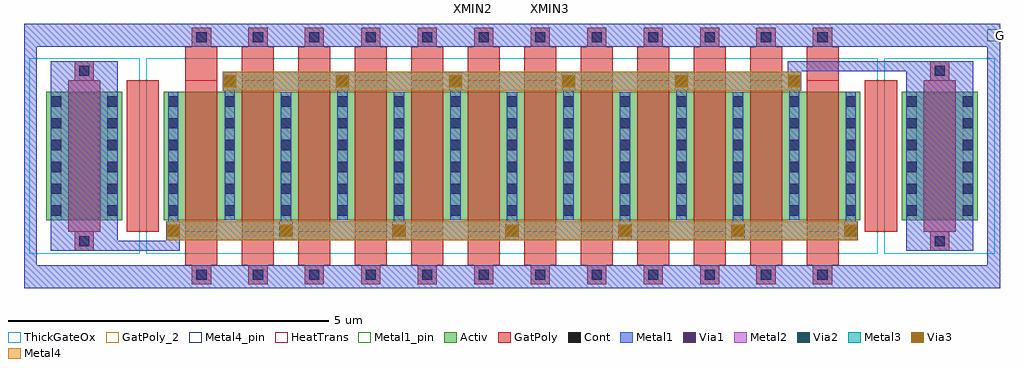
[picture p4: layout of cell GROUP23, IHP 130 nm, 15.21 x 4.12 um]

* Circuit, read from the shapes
.subckt GROUP23 G
XM1 nmosHV$1_priv1_0/D nmosHV$1_priv1_0/D nmosHV$1_priv1_0/D VSUBS sg13_hv_nmos w=2u l=0.5u
XM2 nmosHV$1_priv1_0/S G nmosHV$1_priv1_0/D VSUBS sg13_hv_nmos w=2u l=0.5u m=12
XM3 nmosHV$1_priv1_0/S nmosHV$1_priv1_0/S nmosHV$1_priv1_0/S VSUBS sg13_hv_nmos w=2u l=0.5u
.ends

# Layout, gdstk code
import gdstk
lib = gdstk.Library(unit=1e-6, precision=1e-09)
def R(c, l, rs):  # rectangles x0, y0, x1, y1
    for r in rs: c.add(gdstk.rectangle(r[:2], r[2:], *l))
def A(c, l, x, y, w, h, nx, ny, dx, dy):  # array of equal rectangles
    R(c, l, [(x+i*dx, y+j*dy, x+i*dx+w, y+j*dy+h) for i in range(nx) for j in range(ny)])
Activ = (1, 0)
GatPoly = (5, 0)
GatPoly_2 = (5, 2)
Cont = (6, 0)
Metal1 = (8, 0)
Metal1_pin = (8, 2)
Metal2 = (10, 0)
Via1 = (19, 0)
Via2 = (29, 0)
Metal3 = (30, 0)
ThickGateOx = (44, 0)
Via3 = (49, 0)
Metal4 = (50, 0)
Metal4_pin = (50, 2)
HeatTrans = (51, 0)

nmoshv_1_priv1 = lib.new_cell('nmosHV$1_priv1')
A(nmoshv_1_priv1, Activ, 0, 0, 0.3, 0.3, 13, 1, 0.88, 0)
R(nmoshv_1_priv1, Activ, [(0,0,10.86,2)])
A(nmoshv_1_priv1, GatPoly, 0.44, -1, 0.3, 0.3, 12, 2, 0.88, 3.7)
A(nmoshv_1_priv1, GatPoly, 0.34, -0.7, 0.5, 0.52, 12, 2, 0.88, 2.88)
A(nmoshv_1_priv1, GatPoly, 0.34, -0.18, 0.5, 2.36, 12, 1, 0.88, 0)
R(nmoshv_1_priv1, GatPoly_2, [(0.34,-0.18,0.84,2.18)])
A(nmoshv_1_priv1, Cont, 0.51, -0.93, 0.16, 0.16, 12, 2, 0.88, 3.7)
A(nmoshv_1_priv1, Cont, 0.07, 0.07, 0.16, 0.16, 13, 6, 0.88, 0.34)
A(nmoshv_1_priv1, Metal1, 0.455, -1.06, 0.27, 0.36, 12, 2, 0.88, 3.76)
A(nmoshv_1_priv1, Metal1, 0.045, -0.31, 0.21, 0.29, 7, 1, 1.76, 0)
A(nmoshv_1_priv1, Metal1, 0.07, -0.035, 0.16, 0.05, 7, 1, 1.76, 0)
A(nmoshv_1_priv1, Metal1, 0.07, 0, 0.16, 2, 13, 1, 0.88, 0)
A(nmoshv_1_priv1, Metal1, 0.95, 1.985, 0.16, 0.05, 6, 1, 1.76, 0)
A(nmoshv_1_priv1, Metal1, 0.925, 2.02, 0.21, 0.29, 6, 1, 1.76, 0)
R(nmoshv_1_priv1, Metal1_pin, [(0.07,0,0.23,2), (0.95,0,1.11,2)])
A(nmoshv_1_priv1, Metal2, 0.05, -0.31, 0.2, 0.29, 7, 1, 1.76, 0)
A(nmoshv_1_priv1, Metal2, 0.93, 2.02, 0.2, 0.29, 6, 1, 1.76, 0)
R(nmoshv_1_priv1, Metal2, [(0.05,-0.31,10.81,-0.02), (0.93,2.02,9.93,2.31)])
A(nmoshv_1_priv1, Via1, 0.055, -0.26, 0.19, 0.19, 7, 1, 1.76, 0)
A(nmoshv_1_priv1, Via1, 0.935, 2.07, 0.19, 0.19, 6, 1, 1.76, 0)
A(nmoshv_1_priv1, Via2, 0.055, -0.26, 0.19, 0.19, 7, 1, 1.76, 0)
A(nmoshv_1_priv1, Via2, 0.935, 2.07, 0.19, 0.19, 6, 1, 1.76, 0)
A(nmoshv_1_priv1, Metal3, 0.05, -0.31, 0.2, 0.29, 7, 1, 1.76, 0)
A(nmoshv_1_priv1, Metal3, 0.93, 2.02, 0.2, 0.29, 6, 1, 1.76, 0)
R(nmoshv_1_priv1, Metal3, [(0.05,-0.31,10.81,-0.02), (0.93,2.02,9.93,2.31)])
R(nmoshv_1_priv1, ThickGateOx, [(-0.27,-0.52,11.13,2.52)])
A(nmoshv_1_priv1, Via3, 0.055, -0.26, 0.19, 0.19, 7, 1, 1.76, 0)
A(nmoshv_1_priv1, Via3, 0.935, 2.07, 0.19, 0.19, 6, 1, 1.76, 0)
A(nmoshv_1_priv1, Metal4, 0.05, -0.31, 0.2, 0.29, 7, 1, 1.76, 0)
A(nmoshv_1_priv1, Metal4, 0.93, 2.02, 0.2, 0.29, 6, 1, 1.76, 0)
R(nmoshv_1_priv1, Metal4, [(0.05,-0.31,10.81,-0.02), (0.93,2.02,9.93,2.31)])
R(nmoshv_1_priv1, Metal4_pin, [(10.615,-0.26,10.805,-0.07), (9.735,2.07,9.925,2.26)])
A(nmoshv_1_priv1, HeatTrans, 0.34, -0.18, 0.5, 2.36, 12, 1, 0.88, 0)
nmoshv_1_priv1.add(gdstk.Label('nmosHV', (0.59,1), layer=63, texttype=0))
nmoshv_1_priv1.add(gdstk.Label('nmosHV', (0.59,1), layer=51, texttype=0))
nmoshv_1_priv1.add(gdstk.Label('nmosHV', (1.47,1), layer=51, texttype=0))
nmoshv_1_priv1.add(gdstk.Label('nmosHV', (2.35,1), layer=51, texttype=0))
nmoshv_1_priv1.add(gdstk.Label('nmosHV', (3.23,1), layer=51, texttype=0))
nmoshv_1_priv1.add(gdstk.Label('nmosHV', (4.11,1), layer=51, texttype=0))
nmoshv_1_priv1.add(gdstk.Label('nmosHV', (4.99,1), layer=51, texttype=0))
nmoshv_1_priv1.add(gdstk.Label('nmosHV', (5.87,1), layer=51, texttype=0))
nmoshv_1_priv1.add(gdstk.Label('nmosHV', (6.75,1), layer=51, texttype=0))
nmoshv_1_priv1.add(gdstk.Label('nmosHV', (7.63,1), layer=51, texttype=0))
nmoshv_1_priv1.add(gdstk.Label('nmosHV', (8.51,1), layer=51, texttype=0))
nmoshv_1_priv1.add(gdstk.Label('nmosHV', (9.39,1), layer=51, texttype=0))
nmoshv_1_priv1.add(gdstk.Label('nmosHV', (10.27,1), layer=51, texttype=0))
nmoshv_1_priv1.add(gdstk.Label('S', (9.83,2.165), layer=50, texttype=0))
nmoshv_1_priv1.add(gdstk.Label('D', (10.71,-0.165), layer=50, texttype=0))

nmoshv_2_priv1 = lib.new_cell('nmosHV$2_priv1')
R(nmoshv_2_priv1, Activ, [(0,0,0.3,0.3), (0,0,1.18,2), (0.88,0,1.18,0.3)])
R(nmoshv_2_priv1, GatPoly, [(0.44,-0.48,0.74,-0.18), (0.34,-0.18,0.84,2.18), (0.44,2.18,0.74,2.48)])
R(nmoshv_2_priv1, GatPoly_2, [(0.34,-0.18,0.84,2.18)])
A(nmoshv_2_priv1, Cont, 0.07, 0.07, 0.16, 0.16, 1, 6, 0, 0.34)
A(nmoshv_2_priv1, Cont, 0.95, 0.07, 0.16, 0.16, 1, 6, 0, 0.34)
R(nmoshv_2_priv1, Cont, [(0.51,-0.41,0.67,-0.25), (0.51,2.25,0.67,2.41)])
R(nmoshv_2_priv1, Metal1, [(0.07,-0.48,1.11,2.48), (0.07,0,0.23,2), (0.95,0,1.11,2)])
R(nmoshv_2_priv1, Metal1_pin, [(0.07,0,0.23,2), (0.95,0,1.11,2)])
R(nmoshv_2_priv1, ThickGateOx, [(-0.27,-0.52,1.45,2.52)])
R(nmoshv_2_priv1, HeatTrans, [(0.34,-0.18,0.84,2.18)])
nmoshv_2_priv1.add(gdstk.Label('nmosHV', (0.59,1), layer=63, texttype=0))
nmoshv_2_priv1.add(gdstk.Label('nmosHV', (0.59,1), layer=51, texttype=0))

nmoshv_2_priv2 = lib.new_cell('nmosHV$2_priv2')
R(nmoshv_2_priv2, Activ, [(0,0,0.3,0.3), (0,0,1.18,2), (0.88,0,1.18,0.3)])
R(nmoshv_2_priv2, GatPoly, [(0.44,-0.48,0.74,-0.18), (0.34,-0.18,0.84,2.18), (0.44,2.18,0.74,2.48)])
R(nmoshv_2_priv2, GatPoly_2, [(0.34,-0.18,0.84,2.18)])
A(nmoshv_2_priv2, Cont, 0.07, 0.07, 0.16, 0.16, 1, 6, 0, 0.34)
A(nmoshv_2_priv2, Cont, 0.95, 0.07, 0.16, 0.16, 1, 6, 0, 0.34)
R(nmoshv_2_priv2, Cont, [(0.51,-0.41,0.67,-0.25), (0.51,2.25,0.67,2.41)])
R(nmoshv_2_priv2, Metal1, [(0.07,-0.48,1.11,2.48), (0.07,0,0.23,2), (0.95,0,1.11,2)])
R(nmoshv_2_priv2, Metal1_pin, [(0.07,0,0.23,2), (0.95,0,1.11,2)])
R(nmoshv_2_priv2, ThickGateOx, [(-0.27,-0.52,1.45,2.52)])
R(nmoshv_2_priv2, HeatTrans, [(0.34,-0.18,0.84,2.18)])
nmoshv_2_priv2.add(gdstk.Label('nmosHV', (0.59,1), layer=63, texttype=0))
nmoshv_2_priv2.add(gdstk.Label('nmosHV', (0.59,1), layer=51, texttype=0))

group23 = lib.new_cell('GROUP23')
R(group23, GatPoly, [(191.955,111.82,192.455,114.18), (203.46,111.82,203.96,114.18)])
R(group23, Metal1, [(190.355,110.94,205.565,111.3), (190.355,110.94,190.555,115.06), (205.365,110.94,205.565,115.06), (191.815,111.52,192.785,111.68), (192.575,111.68,192.785,111.98), (202.255,114.02,202.465,114.32), (202.255,114.32,204.105,114.48), (190.355,114.7,205.565,115.06)])
R(group23, Metal1_pin, [(205.365,114.785,205.565,114.975)])
group23.add(gdstk.Reference(nmoshv_1_priv1, (192.53,112)))
group23.add(gdstk.Reference(nmoshv_2_priv1, (190.705,112)))
group23.add(gdstk.Reference(nmoshv_2_priv2, (204.035,112)))
group23.add(gdstk.Label('G', (205.565,114.88), layer=8, texttype=0))
group23.add(gdstk.Label('XMIN2', (197.36,115.36), layer=1000, texttype=0))
group23.add(gdstk.Label('XMIN1', (197.96,115.36), layer=1000, texttype=0))
group23.add(gdstk.Label('XMIN3', (198.56,115.36), layer=1000, texttype=0))

lib.write_gds('GROUP23.gds')
